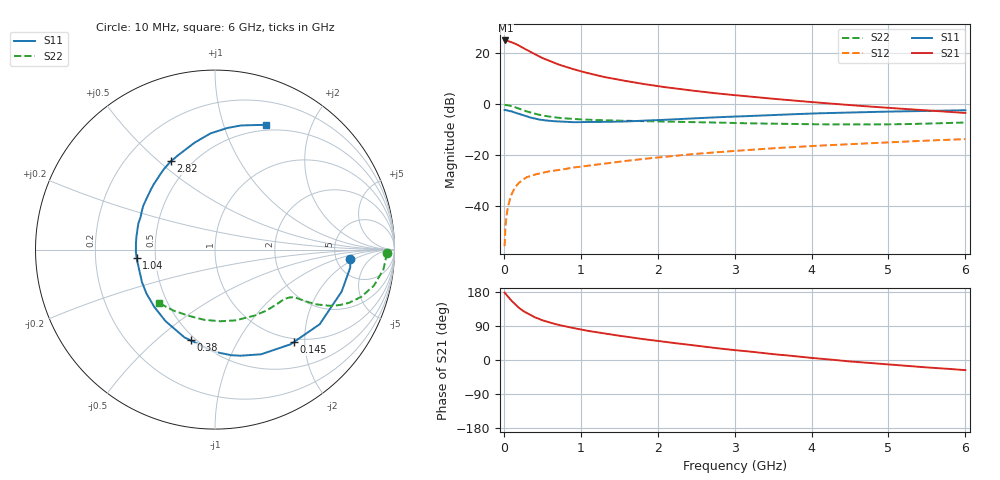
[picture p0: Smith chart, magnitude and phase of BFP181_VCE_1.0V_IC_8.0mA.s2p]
! Infineon Technologies  Discrete & RF Semiconductors
! BFP181
! VCE = 1.0 V,  IC =  8.0 mA
! Common Emitter S-Parameters:  Jan 2016
# GHz  S  MA  R  50
!  f  S11  S21  S12  S22
! GHz  MAG  ANG  MAG  ANG  MAG  ANG  MAG  ANG
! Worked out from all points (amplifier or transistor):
!   210 points, 10 MHz to 6 GHz, reference 50 ohm
!   highest |S21| = 24.9 dB at 20 MHz (marker M1)
!   |S21| within 3 dB of that: start of sweep to 253.6 MHz
!   unconditionally stable (mu >= 1): 795.1 MHz to end of sweep
!   at 185 MHz: K = 0.32, MSG = 27.2 dB, |S12| = -31.4 dB
!   at 1.52 GHz: K = 1.34, MAG = 12.5 dB, |S12| = -22.7 dB
!   at 6 GHz: K = 1.21, MAG = 2.4 dB, |S12| = -13.8 dB
!   S11 on the Smith chart (normalised r, x): 10 MHz: 6.80, -1.59; 145 MHz: 0.93, -1.77; 380 MHz: 0.47, -0.65; 1.04 GHz: 0.39, -0.04; 2.82 GHz: 0.39, +0.55; 6 GHz: 0.44, +1.40
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0.01  0.7555 -3.8  17.58 177.7  0.0016 80.5  0.9581 -1.2
0.02  0.76 -7.6  17.65 175.4  0.0037 83.9  0.9538 -2.6
0.05  0.7435 -18.3  17.33 167.9  0.0089 82.4  0.9449 -6.8
0.1  0.7163 -35.5  16.32 156.4  0.0167 72.4  0.9078 -12.8
0.145  0.6767 -49.7  15.28 147.2  0.0226 64.8  0.862 -17.3
0.2  0.6374 -66.2  13.94 137.1  0.0284 59.9  0.8045 -21.6
0.24  0.608 -76.5  12.82 131.1  0.0317 56.0  0.7632 -23.8
0.3  0.5692 -90.4  11.47 123.5  0.0364 51.6  0.7085 -26.2
0.38  0.5236 -105.1  9.884 115.3  0.0398 48.1  0.6546 -27.9
0.4  0.5181 -109.1  9.526 112.9  0.0407 47.3  0.6412 -28.4
0.5  0.4848 -124.6  7.989 104.9  0.0441 44.4  0.5929 -29.5
0.6  0.4652 -136.7  6.915 98.6  0.0476 43.7  0.559 -30.1
0.8  0.4456 -155.9  5.376 88.5  0.0526 43.3  0.5184 -31.0
1.02  0.4388 -172.8  4.292 79.7  0.0591 43.4  0.4945 -32.6
1.04  0.439 -174.1  4.219 79.0  0.0597 43.4  0.4929 -32.8
1.5  0.4512 161.1  2.97 64.0  0.0731 44.1  0.4683 -37.5
2.02  0.4817 140.1  2.206 49.8  0.089 43.3  0.4519 -45.0
2.82  0.5503 116.4  1.579 30.0  0.1138 39.4  0.428 -59.4
3.1  0.5704 109.4  1.438 24.2  0.122 37.6  0.4177 -65.0
4.1  0.6535 90.6  1.057 3.8  0.1512 30.7  0.3977 -88.3
5.1  0.7101 77.1  0.817 -13.3  0.1779 23.6  0.3978 -113.9
6  0.751 67.7  0.664 -26.7  0.2032 16.5  0.4304 -136.1
